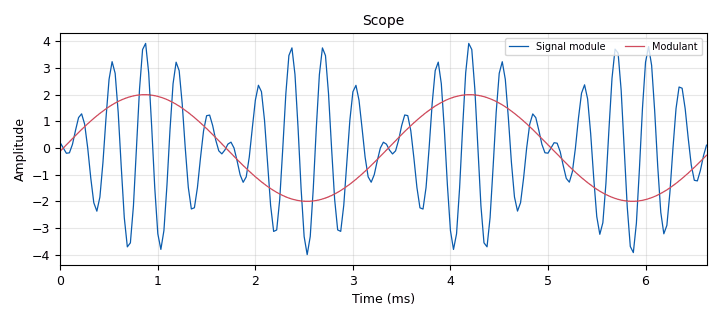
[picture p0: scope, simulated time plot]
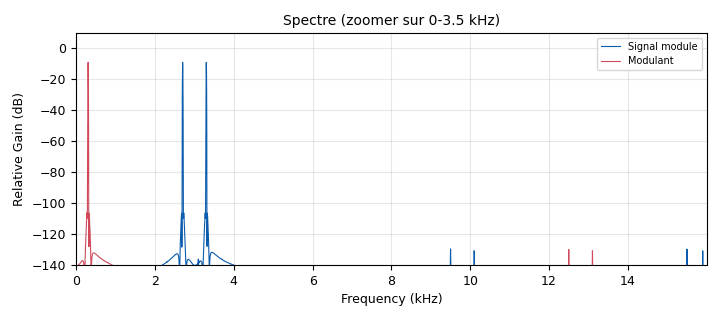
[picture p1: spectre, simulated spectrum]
options:
  parameters:
    author: Groupe 2 - SAE 5.01 NFC
    description: I - MA sans porteuse (DSB-SC)
    generate_options: qt_gui
    id: MA_analogique
    output_language: python
    title: MA_sink
  states: {}

blocks:
- name: AM
  id: variable
  parameters:
    value: '2'
  states: {}
- name: Ap
  id: variable
  parameters:
    value: '2'
  states: {}
- name: fM
  id: variable
  parameters:
    comment: Modulant (Hz)
    value: '300'
  states: {}
- name: fp
  id: variable
  parameters:
    comment: Porteuse (Hz)
    value: '3000'
  states: {}
- name: samp_rate
  id: variable
  parameters:
    value: '32000'
  states: {}
- name: modulant
  id: analog_sig_source_x
  parameters:
    amp: AM
    comment: Modulant
    freq: fM
    offset: '0'
    phase: '0'
    samp_rate: samp_rate
    type: float
    waveform: analog.GR_COS_WAVE
  states: {}
- name: mult
  id: blocks_multiply_xx
  parameters:
    comment: Modulateur
    type: float
  states: {}
- name: porteuse
  id: analog_sig_source_x
  parameters:
    amp: Ap
    comment: Porteuse
    freq: fp
    offset: '0'
    phase: '0'
    samp_rate: samp_rate
    type: float
    waveform: analog.GR_COS_WAVE
  states: {}
- name: scope
  id: qtgui_time_sink_x
  parameters:
    autoscale: 'True'
    grid: 'True'
    label1: '"Signal module"'
    label2: '"Modulant"'
    name: '"Scope"'
    nconnections: '2'
    size: int(2*samp_rate/fM)
    srate: samp_rate
    tr_chan: '1'
    tr_mode: qtgui.TRIG_MODE_AUTO
    type: float
  states: {}
- name: spectre
  id: qtgui_freq_sink_x
  parameters:
    bw: samp_rate
    fc: '0'
    fftsize: '8192'
    freqhalf: 'False'
    grid: 'True'
    label1: '"Signal module"'
    label2: '"Modulant"'
    name: '"Spectre (zoomer sur 0-3.5 kHz)"'
    nconnections: '2'
    type: float
  states: {}
- name: throttle
  id: blocks_throttle2
  parameters:
    samples_per_second: samp_rate
    type: float
  states: {}

connections:
- [modulant, '0', mult, '1']
- [modulant, '0', scope, '1']
- [modulant, '0', spectre, '1']
- [mult, '0', scope, '0']
- [mult, '0', spectre, '0']
- [porteuse, '0', throttle, '0']
- [throttle, '0', mult, '0']

metadata:
  file_format: 1
  grc_version: 3.10.12.0
